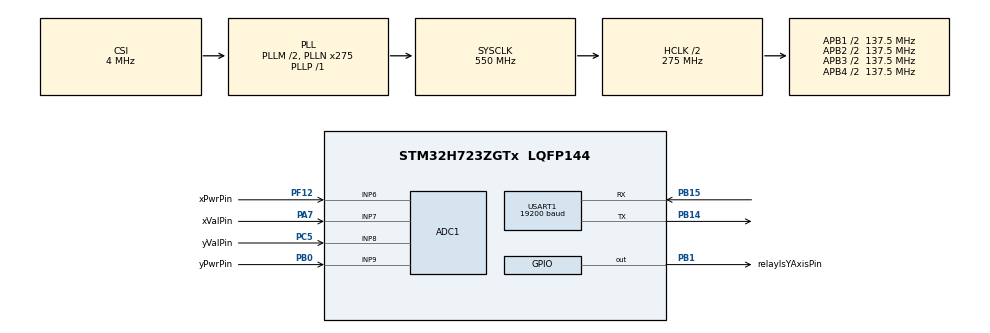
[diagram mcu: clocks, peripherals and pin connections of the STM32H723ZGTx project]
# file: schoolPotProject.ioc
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ADC1.Channel-0\#ChannelRegularConversion=ADC_CHANNEL_6
ADC1.EnableAnalogWatchDog1=false
ADC1.EnableInjectedConversion=DISABLE
ADC1.NbrOfConversionFlag=1
ADC1.OffsetNumber-0\#ChannelRegularConversion=ADC_OFFSET_NONE
ADC1.OffsetSignedSaturation-0\#ChannelRegularConversion=DISABLE
ADC1.OversamplingMode=DISABLE
ADC1.Rank-0\#ChannelRegularConversion=1
ADC1.SamplingTime-0\#ChannelRegularConversion=ADC_SAMPLETIME_1CYCLE_5
ADC1.master=1
CORTEX_M7.default_mode_Activation=1
Mcu.Family=STM32H7
Mcu.Name=STM32H723ZGTx
Mcu.Package=LQFP144
NVIC.PriorityGroup=NVIC_PRIORITYGROUP_4
PA7.GPIO_Label=xValPin
PA7.Signal=ADCx_INP7
PB0.GPIO_Label=yPwrPin
PB0.Signal=ADCx_INP9
PB1.GPIO_Label=relayIsYAxisPin
PB1.Signal=GPIO_Output
PB14.Mode=Asynchronous
PB14.Signal=USART1_TX
PB15.Mode=Asynchronous
PB15.Signal=USART1_RX
PC5.GPIO_Label=yValPin
PC5.Signal=ADCx_INP8
PF12.GPIO_Label=xPwrPin
PF12.Mode=IN6-Single-Ended
PF12.Signal=ADC1_INP6
ProjectManager.HeapSize=0x200
ProjectManager.StackSize=0x400
ProjectManager.TargetToolchain=STM32CubeIDE
RCC.ADCFreq_Value=129000000
RCC.APB1Freq_Value=137500000
RCC.APB2Freq_Value=137500000
RCC.APB3Freq_Value=137500000
RCC.APB4Freq_Value=137500000
RCC.CortexFreq_Value=550000000
RCC.D1PPRE=RCC_APB3_DIV2
RCC.D2PPRE1=RCC_APB1_DIV2
RCC.D2PPRE2=RCC_APB2_DIV2
RCC.D3PPRE=RCC_APB4_DIV2
RCC.DIVM1=2
RCC.DIVM2=2
RCC.DIVN1=275
RCC.DIVP1=1
RCC.HCLKFreq_Value=275000000
RCC.HPRE=RCC_HCLK_DIV2
RCC.PLLSourceVirtual=RCC_PLLSOURCE_CSI
RCC.SYSCLKFreq_VALUE=550000000
RCC.SYSCLKSource=RCC_SYSCLKSOURCE_PLLCLK
RCC.USBFreq_Value=275000000
SH.ADCx_INP7.0=ADC1_INP7,IN7-Single-Ended
SH.ADCx_INP8.0=ADC1_INP8,IN8-Single-Ended
SH.ADCx_INP9.0=ADC1_INP9,IN9-Single-Ended
USART1.BaudRate=19200
USART1.Mode=MODE_TX
USART1.VirtualMode-Asynchronous=VM_ASYNC
VP_MEMORYMAP_VS_MEMORYMAP.Mode=CurAppReg
board=custom

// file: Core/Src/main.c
/* USER CODE BEGIN Header */
/**
  ******************************************************************************
  * @file           : main.c
  * @brief          : Main program body
  ******************************************************************************
  * @attention
  *
  * Copyright (c) 2025 STMicroelectronics.
  * All rights reserved.
  *
  * This software is licensed under terms that can be found in the LICENSE file
  * in the root directory of this software component.
  * If no LICENSE file comes with this software, it is provided AS-IS.
  *
  ******************************************************************************
  */
/* USER CODE END Header */
#include "main.h"

/* USER CODE BEGIN Includes */
#include "stdio.h"
#include "stdbool.h"
#include "QOL.h"
#include "string.h"
/* USER CODE END Includes */

/* USER CODE BEGIN PD */
#define XVAL_CHANNEL   ADC_CHANNEL_7
#define XPWR_CHANNEL   ADC_CHANNEL_6
#define YVAL_CHANNEL   ADC_CHANNEL_8
#define YPWR_CHANNEL   ADC_CHANNEL_9
#define CYCLE_NUM      2000 // amt of cycles to use
#define READS          100 //reads amt
#define TIME           15 //speed of cycle reads
/* USER CODE END PD */

ADC_HandleTypeDef hadc1;

UART_HandleTypeDef huart1;

/* USER CODE BEGIN PV */
long double lengthX = 6.75;
long double lengthY = 3.25;
uint32_t dataOutputPause = 1000;
/* USER CODE END PV */

void SystemClock_Config(void);
static void MPU_Config(void);
static void MX_GPIO_Init(void);
static void MX_ADC1_Init(void);
static void MX_USART1_UART_Init(void);
/* USER CODE BEGIN PFP */
uint16_t readXVal(void);
uint16_t ReadADC(ADC_HandleTypeDef *hadc, uint32_t channel, ADC_ChannelConfTypeDef sConfig);
/* USER CODE END PFP */

int main(void)
{

  /* MPU Configuration--------------------------------------------------------*/
  MPU_Config();

  /* MCU Configuration--------------------------------------------------------*/

  /* Reset of all peripherals, Initializes the Flash interface and the Systick. */
  HAL_Init();

  /* Configure the system clock */
  SystemClock_Config();

  /* Initialize all configured peripherals */
  MX_GPIO_Init();
  MX_ADC1_Init();
  MX_USART1_UART_Init();
  /* USER CODE BEGIN 2 */
  readXVal();

  /* USER CODE END 2 */

  /* Infinite loop */
  /* USER CODE BEGIN WHILE */
  while (1)
  {
//	  HAL_Delay(500);
    /* USER CODE END WHILE */

  }
}

void SystemClock_Config(void)
{
  RCC_OscInitTypeDef RCC_OscInitStruct = {0};
  RCC_ClkInitTypeDef RCC_ClkInitStruct = {0};

  /** Supply configuration update enable
  */
  HAL_PWREx_ConfigSupply(PWR_LDO_SUPPLY);

  /** Configure the main internal regulator output voltage
  */
  __HAL_PWR_VOLTAGESCALING_CONFIG(PWR_REGULATOR_VOLTAGE_SCALE0);

  while(!__HAL_PWR_GET_FLAG(PWR_FLAG_VOSRDY)) {}

  /** Initializes the RCC Oscillators according to the specified parameters
  * in the RCC_OscInitTypeDef structure.
  */
  RCC_OscInitStruct.OscillatorType = RCC_OSCILLATORTYPE_CSI;
  RCC_OscInitStruct.CSIState = RCC_CSI_ON;
  RCC_OscInitStruct.CSICalibrationValue = 16;
  RCC_OscInitStruct.PLL.PLLState = RCC_PLL_ON;
  RCC_OscInitStruct.PLL.PLLSource = RCC_PLLSOURCE_CSI;
  RCC_OscInitStruct.PLL.PLLM = 2;
  RCC_OscInitStruct.PLL.PLLN = 275;
  RCC_OscInitStruct.PLL.PLLP = 1;
  RCC_OscInitStruct.PLL.PLLQ = 2;
  RCC_OscInitStruct.PLL.PLLR = 2;
  RCC_OscInitStruct.PLL.PLLRGE = RCC_PLL1VCIRANGE_1;
  RCC_OscInitStruct.PLL.PLLVCOSEL = RCC_PLL1VCOWIDE;
  RCC_OscInitStruct.PLL.PLLFRACN = 0;
  if (HAL_RCC_OscConfig(&RCC_OscInitStruct) != HAL_OK)
  {
    Error_Handler();
  }

  /** Initializes the CPU, AHB and APB buses clocks
  */
  RCC_ClkInitStruct.ClockType = RCC_CLOCKTYPE_HCLK|RCC_CLOCKTYPE_SYSCLK
                              |RCC_CLOCKTYPE_PCLK1|RCC_CLOCKTYPE_PCLK2
                              |RCC_CLOCKTYPE_D3PCLK1|RCC_CLOCKTYPE_D1PCLK1;
  RCC_ClkInitStruct.SYSCLKSource = RCC_SYSCLKSOURCE_PLLCLK;
  RCC_ClkInitStruct.SYSCLKDivider = RCC_SYSCLK_DIV1;
  RCC_ClkInitStruct.AHBCLKDivider = RCC_HCLK_DIV2;
  RCC_ClkInitStruct.APB3CLKDivider = RCC_APB3_DIV2;
  RCC_ClkInitStruct.APB1CLKDivider = RCC_APB1_DIV2;
  RCC_ClkInitStruct.APB2CLKDivider = RCC_APB2_DIV2;
  RCC_ClkInitStruct.APB4CLKDivider = RCC_APB4_DIV2;

  if (HAL_RCC_ClockConfig(&RCC_ClkInitStruct, FLASH_LATENCY_3) != HAL_OK)
  {
    Error_Handler();
  }
}

static void MX_ADC1_Init(void)
{

  ADC_MultiModeTypeDef multimode = {0};
  ADC_ChannelConfTypeDef sConfig = {0};

  /** Common config
  */
  hadc1.Instance = ADC1;
  hadc1.Init.ClockPrescaler = ADC_CLOCK_ASYNC_DIV1;
  hadc1.Init.Resolution = ADC_RESOLUTION_16B;
  hadc1.Init.ScanConvMode = ADC_SCAN_DISABLE;
  hadc1.Init.EOCSelection = ADC_EOC_SINGLE_CONV;
  hadc1.Init.LowPowerAutoWait = DISABLE;
  hadc1.Init.ContinuousConvMode = DISABLE;
  hadc1.Init.NbrOfConversion = 1;
  hadc1.Init.DiscontinuousConvMode = DISABLE;
  hadc1.Init.ExternalTrigConv = ADC_SOFTWARE_START;
  hadc1.Init.ExternalTrigConvEdge = ADC_EXTERNALTRIGCONVEDGE_NONE;
  hadc1.Init.ConversionDataManagement = ADC_CONVERSIONDATA_DR;
  hadc1.Init.Overrun = ADC_OVR_DATA_PRESERVED;
  hadc1.Init.LeftBitShift = ADC_LEFTBITSHIFT_NONE;
  hadc1.Init.OversamplingMode = DISABLE;
  hadc1.Init.Oversampling.Ratio = 1;
  if (HAL_ADC_Init(&hadc1) != HAL_OK)
  {
    Error_Handler();
  }

  /** Configure the ADC multi-mode
  */
  multimode.Mode = ADC_MODE_INDEPENDENT;
  if (HAL_ADCEx_MultiModeConfigChannel(&hadc1, &multimode) != HAL_OK)
  {
    Error_Handler();
  }

  /** Configure Regular Channel
  */
  sConfig.Channel = ADC_CHANNEL_6;
  sConfig.Rank = ADC_REGULAR_RANK_1;
  sConfig.SamplingTime = ADC_SAMPLETIME_1CYCLE_5;
  sConfig.SingleDiff = ADC_SINGLE_ENDED;
  sConfig.OffsetNumber = ADC_OFFSET_NONE;
  sConfig.Offset = 0;
  sConfig.OffsetSignedSaturation = DISABLE;
  if (HAL_ADC_ConfigChannel(&hadc1, &sConfig) != HAL_OK)
  {
    Error_Handler();
  }

}

static void MX_USART1_UART_Init(void)
{

  huart1.Instance = USART1;
  huart1.Init.BaudRate = 19200;
  huart1.Init.WordLength = UART_WORDLENGTH_8B;
  huart1.Init.StopBits = UART_STOPBITS_1;
  huart1.Init.Parity = UART_PARITY_NONE;
  huart1.Init.Mode = UART_MODE_TX;
  huart1.Init.HwFlowCtl = UART_HWCONTROL_NONE;
  huart1.Init.OverSampling = UART_OVERSAMPLING_16;
  huart1.Init.OneBitSampling = UART_ONE_BIT_SAMPLE_DISABLE;
  huart1.Init.ClockPrescaler = UART_PRESCALER_DIV1;
  huart1.AdvancedInit.AdvFeatureInit = UART_ADVFEATURE_NO_INIT;
  if (HAL_UART_Init(&huart1) != HAL_OK)
  {
    Error_Handler();
  }
  if (HAL_UARTEx_SetTxFifoThreshold(&huart1, UART_TXFIFO_THRESHOLD_1_8) != HAL_OK)
  {
    Error_Handler();
  }
  if (HAL_UARTEx_SetRxFifoThreshold(&huart1, UART_RXFIFO_THRESHOLD_1_8) != HAL_OK)
  {
    Error_Handler();
  }
  if (HAL_UARTEx_DisableFifoMode(&huart1) != HAL_OK)
  {
    Error_Handler();
  }

}

static void MX_GPIO_Init(void)
{
  GPIO_InitTypeDef GPIO_InitStruct = {0};

  /* GPIO Ports Clock Enable */
  __HAL_RCC_GPIOA_CLK_ENABLE();
  __HAL_RCC_GPIOC_CLK_ENABLE();
  __HAL_RCC_GPIOB_CLK_ENABLE();
  __HAL_RCC_GPIOF_CLK_ENABLE();

  /*Configure GPIO pin Output Level */
  HAL_GPIO_WritePin(relayIsYAxisPin_GPIO_Port, relayIsYAxisPin_Pin, GPIO_PIN_RESET);

  /*Configure GPIO pin : relayIsYAxisPin_Pin */
  GPIO_InitStruct.Pin = relayIsYAxisPin_Pin;
  GPIO_InitStruct.Mode = GPIO_MODE_OUTPUT_PP;
  GPIO_InitStruct.Pull = GPIO_NOPULL;
  GPIO_InitStruct.Speed = GPIO_SPEED_FREQ_LOW;
  HAL_GPIO_Init(relayIsYAxisPin_GPIO_Port, &GPIO_InitStruct);

}

/* USER CODE BEGIN 4 */
int _write(int fd, char* ptr, int len) {
  HAL_StatusTypeDef hstatus;

  if (fd == 1 || fd == 2) {
    hstatus = HAL_UART_Transmit(&huart1, (uint8_t *) ptr, len, HAL_MAX_DELAY);
    if (hstatus == HAL_OK)
      return len;
    else
      return -1;
  }
  return -1;
}
uint16_t readXVal(void) //TRY HARMONIC MEAN
{
//	uint32_t prevTick = 0;
//	uint32_t cycles = 1;
//	uint32_t curTick = 0;
//	long double xAvg = 0;
//	long double pXAvg = 0;
//	long double yAvg = 0;
//	long double pYAvg = 0;
	long double xPwr;
	long double xVal;
	long double yPwr;
	long double yVal;
	ADC_ChannelConfTypeDef sConfig = {0};

	sConfig.Rank = ADC_REGULAR_RANK_1;
	sConfig.SamplingTime = ADC_SAMPLETIME_1CYCLE_5;
	sConfig.SingleDiff = ADC_SINGLE_ENDED;
	sConfig.OffsetNumber = ADC_OFFSET_NONE;
	sConfig.Offset = 0;
	sConfig.OffsetSignedSaturation = DISABLE;
	sConfig.Channel = XVAL_CHANNEL;
	HAL_ADC_ConfigChannel(&hadc1, &sConfig);
	HAL_GPIO_WritePin(relayIsYAxisPin_GPIO_Port, relayIsYAxisPin_Pin, GPIO_PIN_SET);
	HAL_Delay(TIME);
	char msg[150];
	for(int i = 0; i < READS; i++) {
		// ----------- Read XVAL -----------
		for(int i = 0; i < CYCLE_NUM; i++) {
			xPwr += (long double)ReadADC(&hadc1, XVAL_CHANNEL, sConfig);
			xVal += (long double)ReadADC(&hadc1, XPWR_CHANNEL, sConfig);
		}
		HAL_GPIO_WritePin(relayIsYAxisPin_GPIO_Port, relayIsYAxisPin_Pin, GPIO_PIN_RESET);
		long double distanceXIn = (xVal / xPwr) * lengthX;
		snprintf(msg, sizeof(msg),
		         "%d,%.2Lf,%.2Lf,%.2Lf",
		         i, distanceXIn, xVal, xPwr);
		HAL_UART_Transmit(&huart1, (uint8_t*)msg, strlen(msg), 100);

		xVal = 0.0;
		xPwr = 0.0;
//		HAL_Delay(TIME);
		for(int i = 0; i < CYCLE_NUM; i++) {
			yPwr += (long double)ReadADC(&hadc1, YVAL_CHANNEL, sConfig);
			yVal += (long double)ReadADC(&hadc1, YPWR_CHANNEL, sConfig);
		}
		HAL_GPIO_WritePin(relayIsYAxisPin_GPIO_Port, relayIsYAxisPin_Pin, GPIO_PIN_SET);
		long double distanceYIn = (yVal / yPwr) * lengthY;
		snprintf(msg, sizeof(msg),
		         ":%.2Lf,%.2Lf,%.2Lf\n",
		         distanceYIn, yVal, yPwr);
		HAL_UART_Transmit(&huart1, (uint8_t*)msg, strlen(msg), 100);

		yVal = 0.0;
		yPwr = 0.0;

	}
    return 0;
}

uint16_t ReadADC(ADC_HandleTypeDef *hadc, uint32_t channel, ADC_ChannelConfTypeDef sConfig)
{
    sConfig.Channel = channel;
    HAL_ADC_ConfigChannel(hadc, &sConfig);

    HAL_ADC_Start(hadc);
    HAL_ADC_PollForConversion(hadc, HAL_MAX_DELAY);
    uint16_t val = HAL_ADC_GetValue(hadc);
    HAL_ADC_Stop(hadc);

    return val;
}

/* USER CODE END 4 */

 /* MPU Configuration */

void MPU_Config(void)
{
  MPU_Region_InitTypeDef MPU_InitStruct = {0};

  /* Disables the MPU */
  HAL_MPU_Disable();

  /** Initializes and configures the Region and the memory to be protected
  */
  MPU_InitStruct.Enable = MPU_REGION_ENABLE;
  MPU_InitStruct.Number = MPU_REGION_NUMBER0;
  MPU_InitStruct.BaseAddress = 0x0;
  MPU_InitStruct.Size = MPU_REGION_SIZE_4GB;
  MPU_InitStruct.SubRegionDisable = 0x87;
  MPU_InitStruct.TypeExtField = MPU_TEX_LEVEL0;
  MPU_InitStruct.AccessPermission = MPU_REGION_NO_ACCESS;
  MPU_InitStruct.DisableExec = MPU_INSTRUCTION_ACCESS_DISABLE;
  MPU_InitStruct.IsShareable = MPU_ACCESS_SHAREABLE;
  MPU_InitStruct.IsCacheable = MPU_ACCESS_NOT_CACHEABLE;
  MPU_InitStruct.IsBufferable = MPU_ACCESS_NOT_BUFFERABLE;

  HAL_MPU_ConfigRegion(&MPU_InitStruct);
  /* Enables the MPU */
  HAL_MPU_Enable(MPU_PRIVILEGED_DEFAULT);

}

void Error_Handler(void)
{
  __disable_irq();
  while (1)
  {
  }
}
